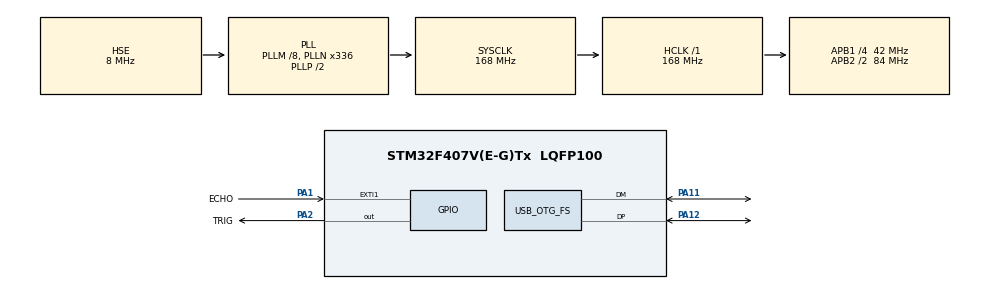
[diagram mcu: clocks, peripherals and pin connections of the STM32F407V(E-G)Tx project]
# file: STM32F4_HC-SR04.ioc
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Mcu.Family=STM32F4
Mcu.Name=STM32F407V(E-G)Tx
Mcu.Package=LQFP100
NVIC.EXTI1_IRQn=true\:0\:0\:false\:false\:true\:true\:true\:true
NVIC.OTG_FS_IRQn=true\:0\:0\:false\:false\:true\:true\:true\:true
NVIC.PriorityGroup=NVIC_PRIORITYGROUP_0
PA1.GPIO_Label=ECHO
PA1.GPIO_ModeDefaultEXTI=GPIO_MODE_IT_RISING_FALLING
PA1.Signal=GPXTI1
PA11.Mode=Device_Only
PA11.Signal=USB_OTG_FS_DM
PA12.Mode=Device_Only
PA12.Signal=USB_OTG_FS_DP
PA2.GPIO_Label=TRIG
PA2.Signal=GPIO_Output
PH0-OSC_IN.Mode=HSE-External-Oscillator
PH0-OSC_IN.Signal=RCC_OSC_IN
PH1-OSC_OUT.Mode=HSE-External-Oscillator
PH1-OSC_OUT.Signal=RCC_OSC_OUT
ProjectManager.HeapSize=0x200
ProjectManager.StackSize=0x400
ProjectManager.TargetToolchain=STM32CubeIDE
RCC.48MHZClocksFreq_Value=48000000
RCC.AHBFreq_Value=168000000
RCC.APB1CLKDivider=RCC_HCLK_DIV4
RCC.APB1Freq_Value=42000000
RCC.APB1TimFreq_Value=84000000
RCC.APB2CLKDivider=RCC_HCLK_DIV2
RCC.APB2Freq_Value=84000000
RCC.APB2TimFreq_Value=168000000
RCC.CortexFreq_Value=168000000
RCC.HCLKFreq_Value=168000000
RCC.HSE_VALUE=8000000
RCC.HSI_VALUE=16000000
RCC.PLLM=8
RCC.PLLN=336
RCC.PLLQ=7
RCC.PLLSourceVirtual=RCC_PLLSOURCE_HSE
RCC.SYSCLKFreq_VALUE=168000000
RCC.SYSCLKSource=RCC_SYSCLKSOURCE_PLLCLK
RCC.VCOOutputFreq_Value=336000000
TIM13.Period=65535
TIM13.Prescaler=83
USB_DEVICE.CLASS_NAME_FS=CDC
USB_DEVICE.VirtualMode-CDC_FS=Cdc
USB_DEVICE.VirtualModeFS=Cdc_FS
USB_OTG_FS.VirtualMode=Device_Only
VP_TIM13_VS_ClockSourceINT.Mode=Enable_Timer
VP_USB_DEVICE_VS_USB_DEVICE_CDC_FS.Mode=CDC_FS
board=STM32F407G-DISC1

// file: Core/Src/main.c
/* USER CODE BEGIN Header */
/**
  ******************************************************************************
  * @file           : main.c
  * @brief          : Main program body
  ******************************************************************************
  * @attention
  *
  * Copyright (c) 2024 STMicroelectronics.
  * All rights reserved.
  *
  * This software is licensed under terms that can be found in the LICENSE file
  * in the root directory of this software component.
  * If no LICENSE file comes with this software, it is provided AS-IS.
  *
  ******************************************************************************
  */
/* USER CODE END Header */
#include "main.h"
#include "usb_device.h"

/* USER CODE BEGIN Includes */
#include "usbd_cdc_if.h"
/* USER CODE END Includes */

TIM_HandleTypeDef htim13;

void SystemClock_Config(void);
static void MX_GPIO_Init(void);
static void MX_TIM13_Init(void);

/* USER CODE BEGIN 0 */
struct
{
	uint32_t us;
	uint32_t distance;
	uint8_t digital;
}hcrs04;
char veri[32];
/* USER CODE END 0 */

int main(void)
{

  /* MCU Configuration--------------------------------------------------------*/

  /* Reset of all peripherals, Initializes the Flash interface and the Systick. */
  HAL_Init();

  /* Configure the system clock */
  SystemClock_Config();

  /* Initialize all configured peripherals */
  MX_GPIO_Init();
  MX_TIM13_Init();
  MX_USB_DEVICE_Init();

  /* Infinite loop */
  while (1)
  {

    /* USER CODE BEGIN 3 */
	  HAL_GPIO_WritePin(TRIG_GPIO_Port, TRIG_Pin, GPIO_PIN_SET);
	  HAL_Delay(1);
	  HAL_GPIO_WritePin(TRIG_GPIO_Port, TRIG_Pin, GPIO_PIN_RESET);
	  hcrs04.digital=HAL_GPIO_ReadPin(TRIG_GPIO_Port, TRIG_Pin);

	  HAL_Delay(100);
  }
  /* USER CODE END 3 */
}

void SystemClock_Config(void)
{
  RCC_OscInitTypeDef RCC_OscInitStruct = {0};
  RCC_ClkInitTypeDef RCC_ClkInitStruct = {0};

  /** Configure the main internal regulator output voltage
  */
  __HAL_RCC_PWR_CLK_ENABLE();
  __HAL_PWR_VOLTAGESCALING_CONFIG(PWR_REGULATOR_VOLTAGE_SCALE1);

  /** Initializes the RCC Oscillators according to the specified parameters
  * in the RCC_OscInitTypeDef structure.
  */
  RCC_OscInitStruct.OscillatorType = RCC_OSCILLATORTYPE_HSE;
  RCC_OscInitStruct.HSEState = RCC_HSE_ON;
  RCC_OscInitStruct.PLL.PLLState = RCC_PLL_ON;
  RCC_OscInitStruct.PLL.PLLSource = RCC_PLLSOURCE_HSE;
  RCC_OscInitStruct.PLL.PLLM = 8;
  RCC_OscInitStruct.PLL.PLLN = 336;
  RCC_OscInitStruct.PLL.PLLP = RCC_PLLP_DIV2;
  RCC_OscInitStruct.PLL.PLLQ = 7;
  if (HAL_RCC_OscConfig(&RCC_OscInitStruct) != HAL_OK)
  {
    Error_Handler();
  }

  /** Initializes the CPU, AHB and APB buses clocks
  */
  RCC_ClkInitStruct.ClockType = RCC_CLOCKTYPE_HCLK|RCC_CLOCKTYPE_SYSCLK
                              |RCC_CLOCKTYPE_PCLK1|RCC_CLOCKTYPE_PCLK2;
  RCC_ClkInitStruct.SYSCLKSource = RCC_SYSCLKSOURCE_PLLCLK;
  RCC_ClkInitStruct.AHBCLKDivider = RCC_SYSCLK_DIV1;
  RCC_ClkInitStruct.APB1CLKDivider = RCC_HCLK_DIV4;
  RCC_ClkInitStruct.APB2CLKDivider = RCC_HCLK_DIV2;

  if (HAL_RCC_ClockConfig(&RCC_ClkInitStruct, FLASH_LATENCY_5) != HAL_OK)
  {
    Error_Handler();
  }
}

static void MX_TIM13_Init(void)
{

  htim13.Instance = TIM13;
  htim13.Init.Prescaler = 83;
  htim13.Init.CounterMode = TIM_COUNTERMODE_UP;
  htim13.Init.Period = 65535;
  htim13.Init.ClockDivision = TIM_CLOCKDIVISION_DIV1;
  htim13.Init.AutoReloadPreload = TIM_AUTORELOAD_PRELOAD_DISABLE;
  if (HAL_TIM_Base_Init(&htim13) != HAL_OK)
  {
    Error_Handler();
  }

}

static void MX_GPIO_Init(void)
{
  GPIO_InitTypeDef GPIO_InitStruct = {0};

  /* GPIO Ports Clock Enable */
  __HAL_RCC_GPIOH_CLK_ENABLE();
  __HAL_RCC_GPIOA_CLK_ENABLE();

  /*Configure GPIO pin Output Level */
  HAL_GPIO_WritePin(TRIG_GPIO_Port, TRIG_Pin, GPIO_PIN_RESET);

  /*Configure GPIO pin : ECHO_Pin */
  GPIO_InitStruct.Pin = ECHO_Pin;
  GPIO_InitStruct.Mode = GPIO_MODE_IT_RISING_FALLING;
  GPIO_InitStruct.Pull = GPIO_NOPULL;
  HAL_GPIO_Init(ECHO_GPIO_Port, &GPIO_InitStruct);

  /*Configure GPIO pin : TRIG_Pin */
  GPIO_InitStruct.Pin = TRIG_Pin;
  GPIO_InitStruct.Mode = GPIO_MODE_OUTPUT_PP;
  GPIO_InitStruct.Pull = GPIO_NOPULL;
  GPIO_InitStruct.Speed = GPIO_SPEED_FREQ_LOW;
  HAL_GPIO_Init(TRIG_GPIO_Port, &GPIO_InitStruct);

  /* EXTI interrupt init*/
  HAL_NVIC_SetPriority(EXTI1_IRQn, 0, 0);
  HAL_NVIC_EnableIRQ(EXTI1_IRQn);

}

/* USER CODE BEGIN 4 */
void HAL_GPIO_EXTI_Callback(uint16_t GPIO_Pin){
	if(GPIO_Pin==ECHO_Pin)
	{
		if(HAL_GPIO_ReadPin(ECHO_GPIO_Port, ECHO_Pin)==GPIO_PIN_SET)
		{
			__HAL_TIM_SET_COUNTER(&htim13,0);
			HAL_TIM_Base_Start(&htim13);
		}
		else
		{
			HAL_TIM_Base_Stop(&htim13);
			hcrs04.us=__HAL_TIM_GetCounter(&htim13);
			hcrs04.distance=(hcrs04.us*10)/58;
			if(hcrs04.distance<150)
			{
				sprintf(veri, "Uyari Mesafe: %d mm\n", hcrs04.distance);
				CDC_Transmit_FS((uint8_t*)veri, strlen(veri));
			}

		}
	}
}

/* USER CODE END 4 */

void Error_Handler(void)
{
  __disable_irq();
  while (1)
  {
  }
}
